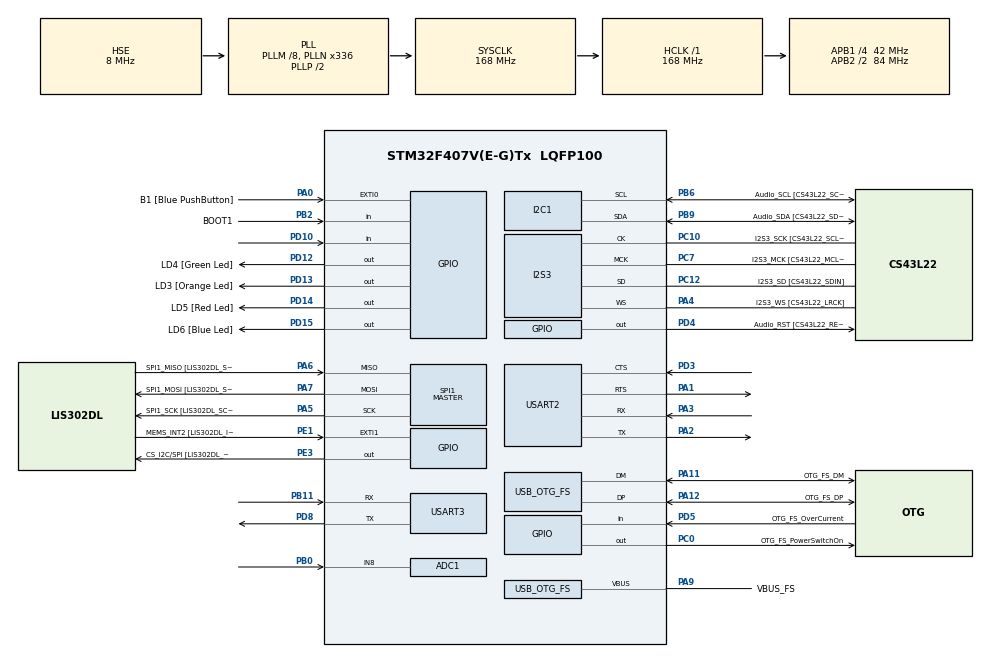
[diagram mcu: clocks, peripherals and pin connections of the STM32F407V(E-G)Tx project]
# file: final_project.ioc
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ADC1.Channel-0\#ChannelRegularConversion=ADC_CHANNEL_8
ADC1.NbrOfConversionFlag=1
ADC1.Rank-0\#ChannelRegularConversion=1
ADC1.SamplingTime-0\#ChannelRegularConversion=ADC_SAMPLETIME_3CYCLES
ADC1.master=1
I2S3.AudioFreq-Half_Duplex_Master=I2S_AUDIOFREQ_96K
I2S3.ErrorAudioFreq=-2.34 %
I2S3.ErrorAudioFreq-Half_Duplex_Master=0.8 %
I2S3.FullDuplexMode=I2S_FULLDUPLEXMODE_DISABLE
I2S3.Instance=SPI$Index
I2S3.RealAudioFreq=93.75 KHz
I2S3.RealAudioFreq-Half_Duplex_Master=96.774 KHz
I2S3.VirtualMode=I2S_MODE_MASTER
Mcu.Family=STM32F4
Mcu.Name=STM32F407V(E-G)Tx
Mcu.Package=LQFP100
NVIC.OTG_FS_IRQn=true\:0\:0\:false\:false\:true\:true\:true
NVIC.PriorityGroup=NVIC_PRIORITYGROUP_0
PA0-WKUP.GPIO_Label=B1 [Blue PushButton]
PA0-WKUP.GPIO_ModeDefaultEXTI=GPIO_MODE_EVT_RISING
PA0-WKUP.GPIO_PuPd=GPIO_NOPULL
PA0-WKUP.Signal=GPXTI0
PA1.Mode=CTS_RTS
PA1.Signal=USART2_RTS
PA10.GPIO_Label=OTG_FS_ID
PA10.GPIO_Mode=GPIO_MODE_AF_PP
PA10.GPIO_PuPd=GPIO_NOPULL
PA10.GPIO_Speed=GPIO_SPEED_FREQ_LOW
PA10.Signal=USB_OTG_FS_ID
PA11.GPIO_Label=OTG_FS_DM
PA11.GPIO_Mode=GPIO_MODE_AF_PP
PA11.GPIO_PuPd=GPIO_NOPULL
PA11.GPIO_Speed=GPIO_SPEED_FREQ_LOW
PA11.Mode=Host_Only
PA11.Signal=USB_OTG_FS_DM
PA12.GPIO_Label=OTG_FS_DP
PA12.GPIO_Mode=GPIO_MODE_AF_PP
PA12.GPIO_PuPd=GPIO_NOPULL
PA12.GPIO_Speed=GPIO_SPEED_FREQ_LOW
PA12.Mode=Host_Only
PA12.Signal=USB_OTG_FS_DP
PA13.GPIO_Label=SWDIO
PA13.Mode=Serial_Wire
PA13.Signal=SYS_JTMS-SWDIO
PA14.GPIO_Label=SWCLK
PA14.Mode=Serial_Wire
PA14.Signal=SYS_JTCK-SWCLK
PA2.Mode=Asynchronous
PA2.Signal=USART2_TX
PA3.Mode=Asynchronous
PA3.Signal=USART2_RX
PA4.GPIO_Label=I2S3_WS [CS43L22_LRCK]
PA4.GPIO_Mode=GPIO_MODE_AF_PP
PA4.GPIO_PuPd=GPIO_NOPULL
PA4.GPIO_Speed=GPIO_SPEED_FREQ_LOW
PA4.Mode=Half_Duplex_Master
PA4.Signal=I2S3_WS
PA5.GPIO_Label=SPI1_SCK [LIS302DL_SCL/SPC]
PA5.GPIO_Mode=GPIO_MODE_AF_PP
PA5.GPIO_PuPd=GPIO_NOPULL
PA5.GPIO_Speed=GPIO_SPEED_FREQ_LOW
PA5.Mode=Full_Duplex_Master
PA5.Signal=SPI1_SCK
PA6.GPIO_Label=SPI1_MISO [LIS302DL_SDO]
PA6.GPIO_Mode=GPIO_MODE_AF_PP
PA6.GPIO_PuPd=GPIO_NOPULL
PA6.GPIO_Speed=GPIO_SPEED_FREQ_LOW
PA6.Mode=Full_Duplex_Master
PA6.Signal=SPI1_MISO
PA7.GPIO_Label=SPI1_MOSI [LIS302DL_SDA/SDI/SDO]
PA7.GPIO_Mode=GPIO_MODE_AF_PP
PA7.GPIO_PuPd=GPIO_NOPULL
PA7.GPIO_Speed=GPIO_SPEED_FREQ_LOW
PA7.Mode=Full_Duplex_Master
PA7.Signal=SPI1_MOSI
PA9.GPIO_Label=VBUS_FS
PA9.GPIO_Mode=GPIO_MODE_INPUT
PA9.GPIO_PuPd=GPIO_NOPULL
PA9.Mode=Activate_VBUS
PA9.Signal=USB_OTG_FS_VBUS
PB0.Signal=ADCx_IN8
PB10.GPIO_Label=CLK_IN [MP45DT02_CLK]
PB10.GPIO_Mode=GPIO_MODE_AF_PP
PB10.GPIO_PuPd=GPIO_NOPULL
PB10.GPIO_Speed=GPIO_SPEED_FREQ_LOW
PB10.Signal=I2S2_CK
PB11.Mode=Asynchronous
PB11.Signal=USART3_RX
PB2.GPIO_Label=BOOT1
PB2.GPIO_Mode=GPIO_MODE_INPUT
PB2.GPIO_PuPd=GPIO_NOPULL
PB2.Signal=GPIO_Input
PB3.GPIO_Label=SWO
PB3.Signal=SYS_JTDO-SWO
PB6.GPIO_Label=Audio_SCL [CS43L22_SCL]
PB6.GPIO_Mode=GPIO_MODE_AF_OD
PB6.GPIO_PuPd=GPIO_NOPULL
PB6.GPIO_Speed=GPIO_SPEED_FREQ_LOW
PB6.Mode=I2C
PB6.Signal=I2C1_SCL
PB9.GPIO_Label=Audio_SDA [CS43L22_SDA]
PB9.GPIO_Mode=GPIO_MODE_AF_OD
PB9.GPIO_PuPd=GPIO_NOPULL
PB9.GPIO_Speed=GPIO_SPEED_FREQ_LOW
PB9.Mode=I2C
PB9.Signal=I2C1_SDA
PC0.GPIO_Label=OTG_FS_PowerSwitchOn
PC0.GPIO_PuPd=GPIO_NOPULL
PC0.GPIO_Speed=GPIO_SPEED_FREQ_LOW
PC0.PinState=GPIO_PIN_SET
PC0.Signal=GPIO_Output
PC10.GPIO_Label=I2S3_SCK [CS43L22_SCLK]
PC10.GPIO_Mode=GPIO_MODE_AF_PP
PC10.GPIO_PuPd=GPIO_NOPULL
PC10.GPIO_Speed=GPIO_SPEED_FREQ_LOW
PC10.Mode=Half_Duplex_Master
PC10.Signal=I2S3_CK
PC12.GPIO_Label=I2S3_SD [CS43L22_SDIN]
PC12.GPIO_Mode=GPIO_MODE_AF_PP
PC12.GPIO_PuPd=GPIO_NOPULL
PC12.GPIO_Speed=GPIO_SPEED_FREQ_LOW
PC12.Mode=Half_Duplex_Master
PC12.Signal=I2S3_SD
PC14-OSC32_IN.GPIO_Label=PC14-OSC32_IN
PC14-OSC32_IN.Mode=LSE-External-Oscillator
PC14-OSC32_IN.Signal=RCC_OSC32_IN
PC15-OSC32_OUT.GPIO_Label=PC15-OSC32_OUT
PC15-OSC32_OUT.Mode=LSE-External-Oscillator
PC15-OSC32_OUT.Signal=RCC_OSC32_OUT
PC3.GPIO_Label=PDM_OUT [MP45DT02_DOUT]
PC3.GPIO_Mode=GPIO_MODE_AF_PP
PC3.GPIO_PuPd=GPIO_NOPULL
PC3.GPIO_Speed=GPIO_SPEED_FREQ_LOW
PC3.Signal=I2S2_SD
PC7.GPIO_Label=I2S3_MCK [CS43L22_MCLK]
PC7.GPIO_Mode=GPIO_MODE_AF_PP
PC7.GPIO_PuPd=GPIO_NOPULL
PC7.GPIO_Speed=GPIO_SPEED_FREQ_LOW
PC7.Mode=Master_Clock_Activated
PC7.Signal=I2S3_MCK
PD10.Signal=GPIO_Input
PD12.GPIO_Label=LD4 [Green Led]
PD12.GPIO_PuPd=GPIO_NOPULL
PD12.GPIO_Speed=GPIO_SPEED_FREQ_LOW
PD12.Signal=GPIO_Output
PD13.GPIO_Label=LD3 [Orange Led]
PD13.GPIO_PuPd=GPIO_NOPULL
PD13.GPIO_Speed=GPIO_SPEED_FREQ_LOW
PD13.Signal=GPIO_Output
PD14.GPIO_Label=LD5 [Red Led]
PD14.GPIO_PuPd=GPIO_NOPULL
PD14.GPIO_Speed=GPIO_SPEED_FREQ_LOW
PD14.Signal=GPIO_Output
PD15.GPIO_Label=LD6 [Blue Led]
PD15.GPIO_PuPd=GPIO_NOPULL
PD15.GPIO_Speed=GPIO_SPEED_FREQ_LOW
PD15.Signal=GPIO_Output
PD3.Mode=CTS_RTS
PD3.Signal=USART2_CTS
PD4.GPIO_Label=Audio_RST [CS43L22_RESET]
PD4.GPIO_PuPd=GPIO_NOPULL
PD4.GPIO_Speed=GPIO_SPEED_FREQ_LOW
PD4.Signal=GPIO_Output
PD5.GPIO_Label=OTG_FS_OverCurrent
PD5.GPIO_Mode=GPIO_MODE_INPUT
PD5.GPIO_PuPd=GPIO_NOPULL
PD5.Signal=GPIO_Input
PD8.Mode=Asynchronous
PD8.Signal=USART3_TX
PE1.GPIO_Label=MEMS_INT2 [LIS302DL_INT2]
PE1.GPIO_ModeDefaultEXTI=GPIO_MODE_EVT_RISING
PE1.GPIO_PuPd=GPIO_NOPULL
PE1.Signal=GPXTI1
PE3.GPIO_Label=CS_I2C/SPI [LIS302DL_CS_I2C/SPI]
PE3.GPIO_PuPd=GPIO_NOPULL
PE3.GPIO_Speed=GPIO_SPEED_FREQ_LOW
PE3.Signal=GPIO_Output
PH0-OSC_IN.GPIO_Label=PH0-OSC_IN
PH0-OSC_IN.Mode=HSE-External-Oscillator
PH0-OSC_IN.Signal=RCC_OSC_IN
PH1-OSC_OUT.GPIO_Label=PH1-OSC_OUT
PH1-OSC_OUT.Mode=HSE-External-Oscillator
PH1-OSC_OUT.Signal=RCC_OSC_OUT
ProjectManager.HeapSize=0x200
ProjectManager.StackSize=0x400
ProjectManager.TargetToolchain=STM32CubeIDE
RCC.48MHZClocksFreq_Value=48000000
RCC.AHBFreq_Value=168000000
RCC.APB1CLKDivider=RCC_HCLK_DIV4
RCC.APB1Freq_Value=42000000
RCC.APB1TimFreq_Value=84000000
RCC.APB2CLKDivider=RCC_HCLK_DIV2
RCC.APB2Freq_Value=84000000
RCC.APB2TimFreq_Value=168000000
RCC.CortexFreq_Value=168000000
RCC.HCLKFreq_Value=168000000
RCC.HSE_VALUE=8000000
RCC.HSI_VALUE=16000000
RCC.PLLM=8
RCC.PLLN=336
RCC.PLLQ=7
RCC.SYSCLKFreq_VALUE=168000000
RCC.SYSCLKSource=RCC_SYSCLKSOURCE_PLLCLK
RCC.VCOOutputFreq_Value=336000000
SH.ADCx_IN8.0=ADC1_IN8,IN8
SPI1.BaudRatePrescaler-Full_Duplex_Master=SPI_BAUDRATEPRESCALER_2
SPI1.CalculateBaudRate-Full_Duplex_Master=42.0 MBits/s
SPI1.Direction=SPI_DIRECTION_2LINES
SPI1.Mode=SPI_MODE_MASTER
SPI1.Mode-Full_Duplex_Master=SPI_MODE_MASTER
SPI1.VirtualType=VM_MASTER
USART2.VirtualMode=VM_ASYNC
USART3.VirtualMode=VM_ASYNC
USB_HOST.BSP.number=1
USB_HOST.USBH_HandleTypeDef-CDC_FS=hUsbHostFS
USB_HOST.VirtualModeFS=Cdc
USB_HOST0.BSP.STBoard=false
USB_HOST0.BSP.api=Unknown
USB_HOST0.BSP.i2caddr=0
USB_HOST0.BSP.i2creg=0
USB_HOST0.BSP.instance=PC0
USB_HOST0.BSP.ip=GPIO
USB_HOST0.BSP.mode=Output
USB_HOST0.BSP.name=Drive_VBUS_FS
USB_HOST0.BSP.solution=PC0
USB_OTG_FS.VirtualMode=Host_Only
USB_OTG_FS.phy_itface=HCD_PHY_EMBEDDED
VP_USB_HOST_VS_USB_HOST_CDC_FS.Mode=CDC_FS
board=STM32F4DISCOVERY

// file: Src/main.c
/* USER CODE BEGIN Header */
/**
  ******************************************************************************
  * @file           : main.c
  * @brief          : Main program body
  ******************************************************************************
  * @attention
  *
  * <h2><center>&copy; Copyright (c) 2019 STMicroelectronics.
  * All rights reserved.</center></h2>
  *
  * This software component is licensed by ST under Ultimate Liberty license
  * SLA0044, the "License"; You may not use this file except in compliance with
  * the License. You may obtain a copy of the License at:
  *                             www.st.com/SLA0044
  *
  ******************************************************************************
  */
/* USER CODE END Header */

#include "main.h"
#include "usb_host.h"

ADC_HandleTypeDef hadc1;

I2C_HandleTypeDef hi2c1;

I2S_HandleTypeDef hi2s3;

SPI_HandleTypeDef hspi1;

UART_HandleTypeDef huart2;
UART_HandleTypeDef huart3;

void SystemClock_Config(void);
static void MX_GPIO_Init(void);
static void MX_I2C1_Init(void);
static void MX_I2S3_Init(void);
static void MX_SPI1_Init(void);
static void MX_USART2_UART_Init(void);
static void MX_ADC1_Init(void);
static void MX_USART3_UART_Init(void);
void MX_USB_HOST_Process(void);

/* USER CODE BEGIN 0 */
char result[16];
/* USER CODE END 0 */

int main(void)
{

  /* MCU Configuration--------------------------------------------------------*/

  /* Reset of all peripherals, Initializes the Flash interface and the Systick. */
  HAL_Init();

  /* Configure the system clock */
  SystemClock_Config();

  /* Initialize all configured peripherals */
  MX_GPIO_Init();
  MX_I2C1_Init();
  MX_I2S3_Init();
  MX_SPI1_Init();
  MX_USB_HOST_Init();
  MX_USART2_UART_Init();
  MX_ADC1_Init();
  MX_USART3_UART_Init();

  /* Infinite loop */
  /* USER CODE BEGIN WHILE */
  int iter_ten = 0;
  int acc_ten = 0;
  int iter_fifty = 0;
  int acc_fifty = 0;
  while (1)
  {
    /* USER CODE END WHILE */
    MX_USB_HOST_Process();

    /* USER CODE BEGIN 3 */
    HAL_ADC_Start(&hadc1);

    if (HAL_ADC_PollForConversion(&hadc1, 1000) == HAL_OK){
    	int value = HAL_ADC_GetValue(&hadc1);

    	if(iter_ten % 10 == 0){
    		// reset
    		char buffer[50];
    		acc_ten += value;
    		float tmp = acc_ten / 10;
    		acc_ten = (int)tmp;
    		int size = sprintf(buffer, "acc_ ten = %d\r\n", acc_ten);
    		HAL_UART_Transmit(&huart2, buffer, size, 1000);
    		acc_ten = 0;
    	}
    	else{
    		acc_ten += value;
    	}
    	if(iter_fifty % 50 == 0){
    	    		// reset
    		char buffer[50];
    		acc_fifty += value;
    	    		float tmp = acc_fifty / 50;
    	    		acc_fifty = (int)tmp;
    	    		int size = sprintf(buffer, ", acc_ fifty = %d\r\n", acc_fifty);
    	    		HAL_UART_Transmit(&huart2, buffer, size, 1000);
    	    		acc_fifty = 0;
    	    	}
    	    	else{
    	    		acc_fifty += value;
    	    	}
    	//int size = sprintf(result, "%d\n\r", value);
    	//HAL_UART_Transmit(&huart2, result, size, 1000);
    	char test[32] = "Hello world\n";
    	HAL_UART_Transmit(&huart3, test, 13, 1000);
    	iter_ten++;
    	iter_fifty++;
    	HAL_Delay(100);
    }
  }
  /* USER CODE END 3 */
}

void SystemClock_Config(void)
{
  RCC_OscInitTypeDef RCC_OscInitStruct = {0};
  RCC_ClkInitTypeDef RCC_ClkInitStruct = {0};
  RCC_PeriphCLKInitTypeDef PeriphClkInitStruct = {0};

  /** Configure the main internal regulator output voltage
  */
  __HAL_RCC_PWR_CLK_ENABLE();
  __HAL_PWR_VOLTAGESCALING_CONFIG(PWR_REGULATOR_VOLTAGE_SCALE1);
  /** Initializes the CPU, AHB and APB busses clocks
  */
  RCC_OscInitStruct.OscillatorType = RCC_OSCILLATORTYPE_HSE;
  RCC_OscInitStruct.HSEState = RCC_HSE_ON;
  RCC_OscInitStruct.PLL.PLLState = RCC_PLL_ON;
  RCC_OscInitStruct.PLL.PLLSource = RCC_PLLSOURCE_HSE;
  RCC_OscInitStruct.PLL.PLLM = 8;
  RCC_OscInitStruct.PLL.PLLN = 336;
  RCC_OscInitStruct.PLL.PLLP = RCC_PLLP_DIV2;
  RCC_OscInitStruct.PLL.PLLQ = 7;
  if (HAL_RCC_OscConfig(&RCC_OscInitStruct) != HAL_OK)
  {
    Error_Handler();
  }
  /** Initializes the CPU, AHB and APB busses clocks
  */
  RCC_ClkInitStruct.ClockType = RCC_CLOCKTYPE_HCLK|RCC_CLOCKTYPE_SYSCLK
                              |RCC_CLOCKTYPE_PCLK1|RCC_CLOCKTYPE_PCLK2;
  RCC_ClkInitStruct.SYSCLKSource = RCC_SYSCLKSOURCE_PLLCLK;
  RCC_ClkInitStruct.AHBCLKDivider = RCC_SYSCLK_DIV1;
  RCC_ClkInitStruct.APB1CLKDivider = RCC_HCLK_DIV4;
  RCC_ClkInitStruct.APB2CLKDivider = RCC_HCLK_DIV2;

  if (HAL_RCC_ClockConfig(&RCC_ClkInitStruct, FLASH_LATENCY_5) != HAL_OK)
  {
    Error_Handler();
  }
  PeriphClkInitStruct.PeriphClockSelection = RCC_PERIPHCLK_I2S;
  PeriphClkInitStruct.PLLI2S.PLLI2SN = 192;
  PeriphClkInitStruct.PLLI2S.PLLI2SR = 2;
  if (HAL_RCCEx_PeriphCLKConfig(&PeriphClkInitStruct) != HAL_OK)
  {
    Error_Handler();
  }
}

static void MX_ADC1_Init(void)
{

  ADC_ChannelConfTypeDef sConfig = {0};

  /** Configure the global features of the ADC (Clock, Resolution, Data Alignment and number of conversion)
  */
  hadc1.Instance = ADC1;
  hadc1.Init.ClockPrescaler = ADC_CLOCK_SYNC_PCLK_DIV4;
  hadc1.Init.Resolution = ADC_RESOLUTION_12B;
  hadc1.Init.ScanConvMode = DISABLE;
  hadc1.Init.ContinuousConvMode = DISABLE;
  hadc1.Init.DiscontinuousConvMode = DISABLE;
  hadc1.Init.ExternalTrigConvEdge = ADC_EXTERNALTRIGCONVEDGE_NONE;
  hadc1.Init.ExternalTrigConv = ADC_SOFTWARE_START;
  hadc1.Init.DataAlign = ADC_DATAALIGN_RIGHT;
  hadc1.Init.NbrOfConversion = 1;
  hadc1.Init.DMAContinuousRequests = DISABLE;
  hadc1.Init.EOCSelection = ADC_EOC_SINGLE_CONV;
  if (HAL_ADC_Init(&hadc1) != HAL_OK)
  {
    Error_Handler();
  }
  /** Configure for the selected ADC regular channel its corresponding rank in the sequencer and its sample time.
  */
  sConfig.Channel = ADC_CHANNEL_8;
  sConfig.Rank = 1;
  sConfig.SamplingTime = ADC_SAMPLETIME_3CYCLES;
  if (HAL_ADC_ConfigChannel(&hadc1, &sConfig) != HAL_OK)
  {
    Error_Handler();
  }

}

static void MX_I2C1_Init(void)
{

  hi2c1.Instance = I2C1;
  hi2c1.Init.ClockSpeed = 100000;
  hi2c1.Init.DutyCycle = I2C_DUTYCYCLE_2;
  hi2c1.Init.OwnAddress1 = 0;
  hi2c1.Init.AddressingMode = I2C_ADDRESSINGMODE_7BIT;
  hi2c1.Init.DualAddressMode = I2C_DUALADDRESS_DISABLE;
  hi2c1.Init.OwnAddress2 = 0;
  hi2c1.Init.GeneralCallMode = I2C_GENERALCALL_DISABLE;
  hi2c1.Init.NoStretchMode = I2C_NOSTRETCH_DISABLE;
  if (HAL_I2C_Init(&hi2c1) != HAL_OK)
  {
    Error_Handler();
  }

}

static void MX_I2S3_Init(void)
{

  hi2s3.Instance = SPI3;
  hi2s3.Init.Mode = I2S_MODE_MASTER_TX;
  hi2s3.Init.Standard = I2S_STANDARD_PHILIPS;
  hi2s3.Init.DataFormat = I2S_DATAFORMAT_16B;
  hi2s3.Init.MCLKOutput = I2S_MCLKOUTPUT_ENABLE;
  hi2s3.Init.AudioFreq = I2S_AUDIOFREQ_96K;
  hi2s3.Init.CPOL = I2S_CPOL_LOW;
  hi2s3.Init.ClockSource = I2S_CLOCK_PLL;
  hi2s3.Init.FullDuplexMode = I2S_FULLDUPLEXMODE_DISABLE;
  if (HAL_I2S_Init(&hi2s3) != HAL_OK)
  {
    Error_Handler();
  }

}

static void MX_SPI1_Init(void)
{

  /* SPI1 parameter configuration*/
  hspi1.Instance = SPI1;
  hspi1.Init.Mode = SPI_MODE_MASTER;
  hspi1.Init.Direction = SPI_DIRECTION_2LINES;
  hspi1.Init.DataSize = SPI_DATASIZE_8BIT;
  hspi1.Init.CLKPolarity = SPI_POLARITY_LOW;
  hspi1.Init.CLKPhase = SPI_PHASE_1EDGE;
  hspi1.Init.NSS = SPI_NSS_SOFT;
  hspi1.Init.BaudRatePrescaler = SPI_BAUDRATEPRESCALER_2;
  hspi1.Init.FirstBit = SPI_FIRSTBIT_MSB;
  hspi1.Init.TIMode = SPI_TIMODE_DISABLE;
  hspi1.Init.CRCCalculation = SPI_CRCCALCULATION_DISABLE;
  hspi1.Init.CRCPolynomial = 10;
  if (HAL_SPI_Init(&hspi1) != HAL_OK)
  {
    Error_Handler();
  }

}

static void MX_USART2_UART_Init(void)
{

  huart2.Instance = USART2;
  huart2.Init.BaudRate = 115200;
  huart2.Init.WordLength = UART_WORDLENGTH_8B;
  huart2.Init.StopBits = UART_STOPBITS_1;
  huart2.Init.Parity = UART_PARITY_NONE;
  huart2.Init.Mode = UART_MODE_TX_RX;
  huart2.Init.HwFlowCtl = UART_HWCONTROL_RTS_CTS;
  huart2.Init.OverSampling = UART_OVERSAMPLING_16;
  if (HAL_UART_Init(&huart2) != HAL_OK)
  {
    Error_Handler();
  }

}

static void MX_USART3_UART_Init(void)
{

  huart3.Instance = USART3;
  huart3.Init.BaudRate = 115200;
  huart3.Init.WordLength = UART_WORDLENGTH_8B;
  huart3.Init.StopBits = UART_STOPBITS_1;
  huart3.Init.Parity = UART_PARITY_NONE;
  huart3.Init.Mode = UART_MODE_TX_RX;
  huart3.Init.HwFlowCtl = UART_HWCONTROL_NONE;
  huart3.Init.OverSampling = UART_OVERSAMPLING_16;
  if (HAL_UART_Init(&huart3) != HAL_OK)
  {
    Error_Handler();
  }

}

static void MX_GPIO_Init(void)
{
  GPIO_InitTypeDef GPIO_InitStruct = {0};

  /* GPIO Ports Clock Enable */
  __HAL_RCC_GPIOE_CLK_ENABLE();
  __HAL_RCC_GPIOC_CLK_ENABLE();
  __HAL_RCC_GPIOH_CLK_ENABLE();
  __HAL_RCC_GPIOA_CLK_ENABLE();
  __HAL_RCC_GPIOB_CLK_ENABLE();
  __HAL_RCC_GPIOD_CLK_ENABLE();

  /*Configure GPIO pin Output Level */
  HAL_GPIO_WritePin(CS_I2C_SPI_GPIO_Port, CS_I2C_SPI_Pin, GPIO_PIN_RESET);

  /*Configure GPIO pin Output Level */
  HAL_GPIO_WritePin(OTG_FS_PowerSwitchOn_GPIO_Port, OTG_FS_PowerSwitchOn_Pin, GPIO_PIN_SET);

  /*Configure GPIO pin Output Level */
  HAL_GPIO_WritePin(GPIOD, LD4_Pin|LD3_Pin|LD5_Pin|LD6_Pin
                          |Audio_RST_Pin, GPIO_PIN_RESET);

  /*Configure GPIO pin : CS_I2C_SPI_Pin */
  GPIO_InitStruct.Pin = CS_I2C_SPI_Pin;
  GPIO_InitStruct.Mode = GPIO_MODE_OUTPUT_PP;
  GPIO_InitStruct.Pull = GPIO_NOPULL;
  GPIO_InitStruct.Speed = GPIO_SPEED_FREQ_LOW;
  HAL_GPIO_Init(CS_I2C_SPI_GPIO_Port, &GPIO_InitStruct);

  /*Configure GPIO pin : OTG_FS_PowerSwitchOn_Pin */
  GPIO_InitStruct.Pin = OTG_FS_PowerSwitchOn_Pin;
  GPIO_InitStruct.Mode = GPIO_MODE_OUTPUT_PP;
  GPIO_InitStruct.Pull = GPIO_NOPULL;
  GPIO_InitStruct.Speed = GPIO_SPEED_FREQ_LOW;
  HAL_GPIO_Init(OTG_FS_PowerSwitchOn_GPIO_Port, &GPIO_InitStruct);

  /*Configure GPIO pin : PDM_OUT_Pin */
  GPIO_InitStruct.Pin = PDM_OUT_Pin;
  GPIO_InitStruct.Mode = GPIO_MODE_AF_PP;
  GPIO_InitStruct.Pull = GPIO_NOPULL;
  GPIO_InitStruct.Speed = GPIO_SPEED_FREQ_LOW;
  GPIO_InitStruct.Alternate = GPIO_AF5_SPI2;
  HAL_GPIO_Init(PDM_OUT_GPIO_Port, &GPIO_InitStruct);

  /*Configure GPIO pin : B1_Pin */
  GPIO_InitStruct.Pin = B1_Pin;
  GPIO_InitStruct.Mode = GPIO_MODE_EVT_RISING;
  GPIO_InitStruct.Pull = GPIO_NOPULL;
  HAL_GPIO_Init(B1_GPIO_Port, &GPIO_InitStruct);

  /*Configure GPIO pin : BOOT1_Pin */
  GPIO_InitStruct.Pin = BOOT1_Pin;
  GPIO_InitStruct.Mode = GPIO_MODE_INPUT;
  GPIO_InitStruct.Pull = GPIO_NOPULL;
  HAL_GPIO_Init(BOOT1_GPIO_Port, &GPIO_InitStruct);

  /*Configure GPIO pin : CLK_IN_Pin */
  GPIO_InitStruct.Pin = CLK_IN_Pin;
  GPIO_InitStruct.Mode = GPIO_MODE_AF_PP;
  GPIO_InitStruct.Pull = GPIO_NOPULL;
  GPIO_InitStruct.Speed = GPIO_SPEED_FREQ_LOW;
  GPIO_InitStruct.Alternate = GPIO_AF5_SPI2;
  HAL_GPIO_Init(CLK_IN_GPIO_Port, &GPIO_InitStruct);

  /*Configure GPIO pins : PD10 OTG_FS_OverCurrent_Pin */
  GPIO_InitStruct.Pin = GPIO_PIN_10|OTG_FS_OverCurrent_Pin;
  GPIO_InitStruct.Mode = GPIO_MODE_INPUT;
  GPIO_InitStruct.Pull = GPIO_NOPULL;
  HAL_GPIO_Init(GPIOD, &GPIO_InitStruct);

  /*Configure GPIO pins : LD4_Pin LD3_Pin LD5_Pin LD6_Pin
                           Audio_RST_Pin */
  GPIO_InitStruct.Pin = LD4_Pin|LD3_Pin|LD5_Pin|LD6_Pin
                          |Audio_RST_Pin;
  GPIO_InitStruct.Mode = GPIO_MODE_OUTPUT_PP;
  GPIO_InitStruct.Pull = GPIO_NOPULL;
  GPIO_InitStruct.Speed = GPIO_SPEED_FREQ_LOW;
  HAL_GPIO_Init(GPIOD, &GPIO_InitStruct);

  /*Configure GPIO pin : MEMS_INT2_Pin */
  GPIO_InitStruct.Pin = MEMS_INT2_Pin;
  GPIO_InitStruct.Mode = GPIO_MODE_EVT_RISING;
  GPIO_InitStruct.Pull = GPIO_NOPULL;
  HAL_GPIO_Init(MEMS_INT2_GPIO_Port, &GPIO_InitStruct);

}

void Error_Handler(void)
{
}

/************************ (C) COPYRIGHT STMicroelectronics *****END OF FILE****/
